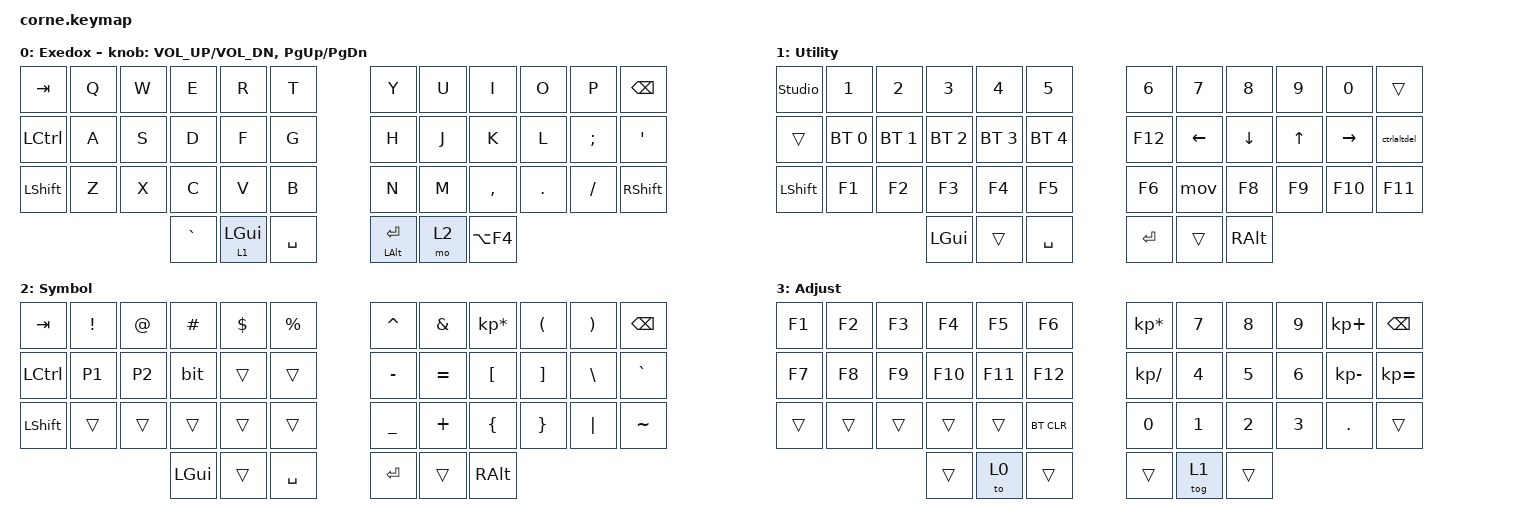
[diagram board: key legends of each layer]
/*
 * Copyright (c) 2020 The ZMK Contributors
 *
 * SPDX-License-Identifier: MIT
 */

#include <behaviors.dtsi>
#include <dt-bindings/zmk/bt.h>
#include <dt-bindings/zmk/keys.h>

/ {
    combos {
        compatible = "zmk,combos";

        Copy {
            bindings = <&kp LC(C)>;
            key-positions = <27 26>;
        };

        Paste {
            bindings = <&kp LC(V)>;
            key-positions = <28 29>;
        };

        PrintScrn {
            bindings = <&kp LA(PRINTSCREEN)>;
            key-positions = <16 17>;
        };

        Delete {
            bindings = <&kp DEL>;
            key-positions = <10 11>;
            layers = <0 3>;
        };

        Pass {
            bindings = <&kp LC(LS(L))>;
            key-positions = <21 22>;
        };

        Cut {
            bindings = <&kp LC(X)>;
            key-positions = <25 26>;
        };

        Adjust {
            bindings = <&to 3>;
            key-positions = <37 40>;
        };

        F4_Combo {
            bindings = <&kp F4>;
            key-positions = <3 4>;
        };

        F5_Combo {
            bindings = <&kp F5>;
            key-positions = <4 5>;
        };

        F3_Combo {
            bindings = <&kp F3>;
            key-positions = <2 3>;
        };

        selall {
            bindings = <&kp LC(A)>;
            key-positions = <12 13>;
        };

        caps {
            bindings = <&kp CAPSLOCK>;
            key-positions = <1 10>;
        };

        shift {
            bindings = <&kp ESCAPE>;
            key-positions = <35 23>;
        };

        winr {
            bindings = <&kp LG(LS(RIGHT))>;
            key-positions = <0 11>;
        };

        copycad {
            bindings = <&copycad>;
            key-positions = <6 7>;
        };

        move {
            bindings = <&mov>;
            key-positions = <30 31>;
        };

        trim {
            bindings = <&trim>;
            key-positions = <18 19>;
        };

        tor {
            bindings = <&tori>;
            key-positions = <19 20>;
        };
    };

    macros {
        ctrlaltdel: ctrlaltdel {
            compatible = "zmk,behavior-macro";
            #binding-cells = <0>;
            bindings = <&kp LC(LA(DEL))>;
            label = "CTRLALTDEL";
            tap-ms = <0>;
        };

        P1: P1 {
            compatible = "zmk,behavior-macro";
            #binding-cells = <0>;
            bindings = <&kp LS(T) &kp H &kp E &kp N1 &kp S &kp P &kp E &kp C &kp T &kp R &kp U &kp M &kp EXCL>;
            label = "P1";
            tap-ms = <1>;
        };

        P2: P2 {
            compatible = "zmk,behavior-macro";
            #binding-cells = <0>;
            bindings = <&kp LS(T) &kp H &kp E &kp NUMBER_8 &kp S &kp P &kp E &kp C &kp T &kp R &kp U &kp M &kp EXCL>;
            label = "P2";
            tap-ms = <1>;
        };

        bit: bit {
            compatible = "zmk,behavior-macro";
            #binding-cells = <0>;
            bindings = <&kp LS(D) &kp N1 &kp G &kp N1 &kp M &kp N0 &kp N &kp N1 &kp S &kp T &kp H &kp E &kp B &kp E &kp S &kp T &kp EXCL>;
            label = "BIT";
            tap-ms = <1>;
        };

        mov: mov {
            compatible = "zmk,behavior-macro";
            #binding-cells = <0>;
            bindings = <&kp M &kp O &kp V &kp E &kp RET>;
            label = "MOV";
            tap-ms = <1>;
        };

        tori: tori {
            compatible = "zmk,behavior-macro";
            #binding-cells = <0>;
            bindings = <&kp T &kp O &kp R &kp I &kp E &kp N &kp T &kp RET>;
            label = "TORI";
            tap-ms = <1>;
            wait-ms = <0>;
        };

        copycad: copycad {
            compatible = "zmk,behavior-macro";
            #binding-cells = <0>;
            bindings = <&kp C &kp O &kp P &kp Y &kp RET>;
            label = "COPYCAD";
            tap-ms = <1>;
        };

        trim: trim {
            compatible = "zmk,behavior-macro";
            #binding-cells = <0>;
            bindings = <&kp T &kp R &kp I &kp M &kp RET>;
            label = "TRIM";
            tap-ms = <1>;
        };
    };

    keymap {
        compatible = "zmk,keymap";

        default_layer {
            // -----------------------------------------------------------------------------------------
            // |  TAB |  Q  |  W  |  E  |  R  |  T  |   |  Y  |  U   |  I  |  O  |  P  | BKSP |
            // | CTRL |  A  |  S  |  D  |  F  |  G  |   |  H  |  J   |  K  |  L  |  ;  |  '   |
            // | SHFT |  Z  |  X  |  C  |  V  |  B  |   |  N  |  M   |  ,  |  .  |  /  | ESC  |
            //                    | GUI | LWR | SPC |   | ENT | RSE  | ALT |

            bindings = <
&kp TAB    &kp Q  &kp W  &kp E      &kp R           &kp T        &kp Y           &kp U  &kp I       &kp O    &kp P     &kp BSPC
&kp LCTRL  &kp A  &kp S  &kp D      &kp F           &kp G        &kp H           &kp J  &kp K       &kp L    &kp SEMI  &kp SQT
&kp LSHFT  &kp Z  &kp X  &kp C      &kp V           &kp B        &kp N           &kp M  &kp COMMA   &kp DOT  &kp FSLH  &kp RIGHT_SHIFT
                         &kp GRAVE  &lt 1 LEFT_GUI  &kp SPACE    &mt LALT ENTER  &mo 2  &kp LA(F4)
            >;

            sensor-bindings =
                <&inc_dec_kp C_VOL_UP C_VOL_DN>,
                <&inc_dec_kp PAGE_UP PAGE_DOWN>;

            display-name = "Exedox";
        };

        lower_layer {
            // -----------------------------------------------------------------------------------------
            // |  TAB |  1  |  2  |  3  |  4  |  5  |   |  6  |  7  |  8  |  9  |  0  | BKSP |
            // | BTCLR| BT1 | BT2 | BT3 | BT4 | BT5 |   | LFT | DWN |  UP | RGT |     |      |
            // | SHFT |     |     |     |     |     |   |     |     |     |     |     |      |
            //                    | GUI |     | SPC |   | ENT |     | ALT |

            bindings = <
&studio_unlock  &kp N1        &kp NUMBER_2  &kp N3        &kp N4        &kp N5          &kp NUMBER_6  &kp N7          &kp N8          &kp N9        &kp N0           &trans
&trans          &bt BT_SEL 0  &bt BT_SEL 1  &bt BT_SEL 2  &bt BT_SEL 3  &bt BT_SEL 4    &kp F12       &kp LEFT_ARROW  &kp DOWN_ARROW  &kp UP_ARROW  &kp RIGHT_ARROW  &ctrlaltdel
&kp LSHFT       &kp F1        &kp F2        &kp F3        &kp F4        &kp F5          &kp F6        &mov            &kp F8          &kp F9        &kp F10          &kp F11
                                            &kp LGUI      &trans        &kp SPACE       &kp RET       &trans          &kp RALT
            >;

            display-name = "Utility";
        };

        raise_layer {
            // -----------------------------------------------------------------------------------------
            // |  TAB |  !  |  @  |  #  |  $  |  %  |   |  ^  |  &  |  *  |  (  |  )  | BKSP |
            // | CTRL |     |     |     |     |     |   |  -  |  =  |  [  |  ]  |  \  |  `   |
            // | SHFT |     |     |     |     |     |   |  _  |  +  |  {  |  }  | "|" |  ~   |
            //                    | GUI |     | SPC |   | ENT |     | ALT |

            bindings = <
&kp TAB    &kp EXCL  &kp AT  &kp HASH  &kp DLLR  &kp PRCNT    &kp CARET  &kp AMPS   &kp KP_MULTIPLY  &kp LPAR  &kp RPAR  &kp BSPC
&kp LCTRL  &P1       &P2     &bit      &trans    &trans       &kp MINUS  &kp EQUAL  &kp LBKT         &kp RBKT  &kp BSLH  &kp GRAVE
&kp LSHFT  &trans    &trans  &trans    &trans    &trans       &kp UNDER  &kp PLUS   &kp LBRC         &kp RBRC  &kp PIPE  &kp TILDE
                             &kp LGUI  &trans    &kp SPACE    &kp RET    &trans     &kp RALT
            >;

            display-name = "Symbol";
        };

        Adjust_layer {
            bindings = <
&kp F1  &kp F2  &kp F3  &kp F4   &kp F5   &kp F6        &kp KP_ASTERISK  &kp N7  &kp N8        &kp N9        &kp KP_PLUS   &kp BACKSPACE
&kp F7  &kp F8  &kp F9  &kp F10  &kp F11  &kp F12       &kp KP_DIVIDE    &kp N4  &kp N5        &kp NUMBER_6  &kp KP_MINUS  &kp KP_EQUAL
&trans  &trans  &trans  &trans   &trans   &bt BT_CLR    &kp N0           &kp N1  &kp NUMBER_2  &kp N3        &kp PERIOD    &trans
                        &trans   &to 0    &trans        &trans           &tog 1  &trans
            >;

            display-name = "Adjust";
        };
    };
};
